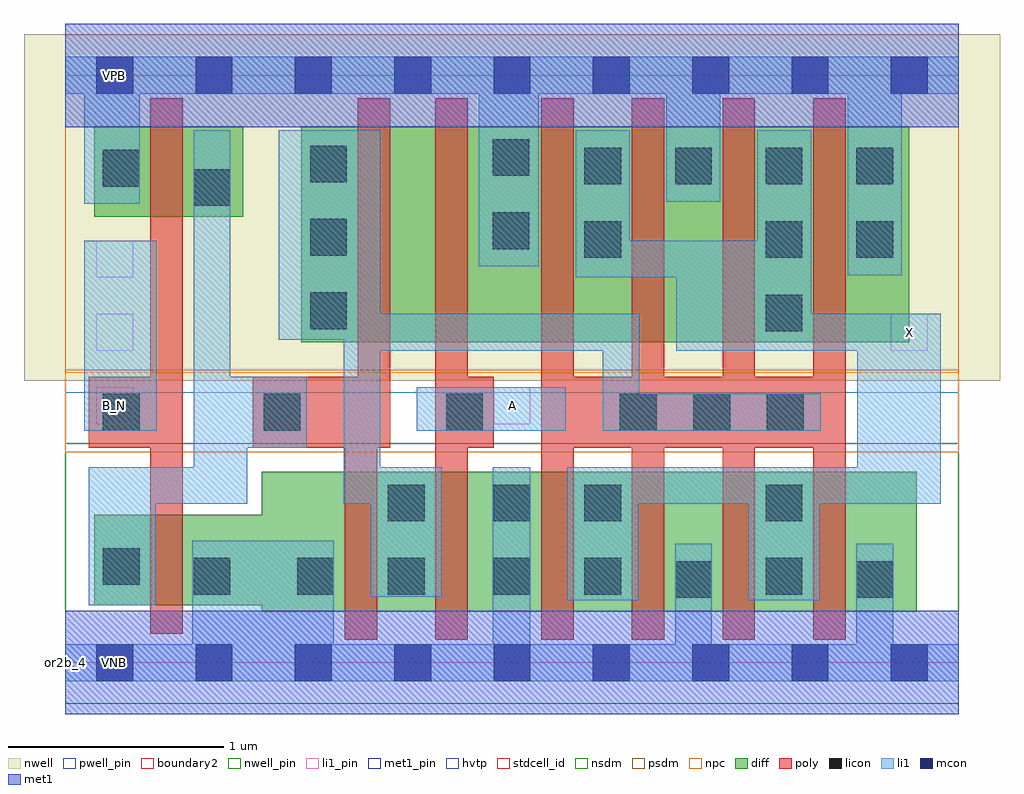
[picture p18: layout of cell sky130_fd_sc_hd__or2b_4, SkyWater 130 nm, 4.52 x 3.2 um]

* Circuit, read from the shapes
.subckt sky130_fd_sc_hd__or2b_4 A B_N VGND VNB VPB VPWR X
XM1 VGND B_N n1 VNB sky130_fd_pr__nfet_01v8 w=0.42 l=0.15
XM2 n2 n1 VGND VNB sky130_fd_pr__nfet_01v8 w=0.65 l=0.15
XM3 VGND A n2 VNB sky130_fd_pr__nfet_01v8 w=0.65 l=0.15
XM4 X n2 VGND VNB sky130_fd_pr__nfet_01v8 w=0.65 l=0.15 m=4
XM5 n1 B_N VPWR VPB sky130_fd_pr__pfet_01v8_hvt w=0.42 l=0.15
XM6 n3 n1 n2 VPB sky130_fd_pr__pfet_01v8_hvt w=1 l=0.15
XM7 VPWR A n3 VPB sky130_fd_pr__pfet_01v8_hvt w=1 l=0.15
XM8 X n2 VPWR VPB sky130_fd_pr__pfet_01v8_hvt w=1 l=0.15 m=4
.ends

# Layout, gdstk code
import gdstk
lib = gdstk.Library(unit=1e-6, precision=1e-09)
def R(c, l, rs):  # rectangles x0, y0, x1, y1
    for r in rs: c.add(gdstk.rectangle(r[:2], r[2:], *l))
def A(c, l, x, y, w, h, nx, ny, dx, dy):  # array of equal rectangles
    R(c, l, [(x+i*dx, y+j*dy, x+i*dx+w, y+j*dy+h) for i in range(nx) for j in range(ny)])
def P(c, l, *ps):  # polygons
    for p in ps: c.add(gdstk.Polygon(p, *l))
nwell_pin = (64, 16)
nwell = (64, 20)
diff = (65, 20)
poly = (66, 20)
licon = (66, 44)
li1_pin = (67, 16)
li1 = (67, 20)
mcon = (67, 44)
met1_pin = (68, 16)
met1 = (68, 20)
hvtp = (78, 44)
stdcell_id = (81, 4)
nsdm = (93, 44)
psdm = (94, 20)
npc = (95, 20)
pwell_pin = (122, 16)
boundary2 = (236, 0)

sky130_fd_sc_hd__or2b_4 = lib.new_cell('sky130_fd_sc_hd__or2b_4')
R(sky130_fd_sc_hd__or2b_4, nwell_pin, [(0.145,2.635,0.315,2.805)])
R(sky130_fd_sc_hd__or2b_4, nwell, [(-0.19,1.305,4.33,2.91)])
R(sky130_fd_sc_hd__or2b_4, diff, [(1.095,1.485,3.91,2.485), (0.135,2.065,0.825,2.485)])
P(sky130_fd_sc_hd__or2b_4, diff, [(3.945,0.885),(0.91,0.885),(0.91,0.685),(0.135,0.685),(0.135,0.265),(0.91,0.265),(0.91,0.235),(3.945,0.235)])
P(sky130_fd_sc_hd__or2b_4, poly, [(3.615,2.615),(3.465,2.615),(3.465,1.325),(3.195,1.325),(3.195,2.615),(3.045,2.615),(3.045,1.325),(2.775,1.325),(2.775,2.615),(2.625,2.615),(2.625,1.325),(2.355,1.325),(2.355,2.615),(2.205,2.615),(2.205,0.105),(2.355,0.105),(2.355,0.995),(2.625,0.995),(2.625,0.105),(2.775,0.105),(2.775,0.995),(3.045,0.995),(3.045,0.105),(3.195,0.105),(3.195,0.995),(3.465,0.995),(3.465,0.105),(3.615,0.105)],
  [(1.985,1.325),(1.865,1.325),(1.865,2.615),(1.715,2.615),(1.715,0.105),(1.865,0.105),(1.865,0.995),(1.985,0.995)],
  [(1.505,2.615),(1.355,2.615),(1.355,1.325),(0.87,1.325),(0.87,0.995),(1.295,0.995),(1.295,0.105),(1.445,0.105),(1.445,0.995),(1.505,0.995)],
  [(0.545,2.615),(0.395,2.615),(0.395,1.325),(0.11,1.325),(0.11,0.995),(0.395,0.995),(0.395,0.135),(0.545,0.135)])
A(sky130_fd_sc_hd__or2b_4, licon, 2.57, 1.075, 0.17, 0.17, 3, 1, 0.34, 0)
A(sky130_fd_sc_hd__or2b_4, licon, 1.135, 1.545, 0.17, 0.17, 1, 3, 0, 0.34)
A(sky130_fd_sc_hd__or2b_4, licon, 2.405, 2.215, 0.17, 0.17, 4, 1, 0.42, 0)
R(sky130_fd_sc_hd__or2b_4, licon, [(2.825,0.3,2.995,0.47), (3.665,0.3,3.835,0.47), (0.595,0.315,0.765,0.485), (1.075,0.315,1.245,0.485), (1.495,0.315,1.665,0.485), (1.985,0.315,2.155,0.485), (2.405,0.315,2.575,0.485), (3.245,0.315,3.415,0.485), (0.175,0.36,0.345,0.53), (1.495,0.655,1.665,0.825), (1.985,0.655,2.155,0.825), (2.405,0.655,2.575,0.825), (3.245,0.655,3.415,0.825), (0.175,1.075,0.345,1.245), (0.92,1.075,1.09,1.245), (1.765,1.075,1.935,1.245), (3.245,1.535,3.415,1.705), (2.405,1.875,2.575,2.045), (3.245,1.875,3.415,2.045), (3.665,1.875,3.835,2.045), (1.98,1.915,2.15,2.085), (0.595,2.115,0.765,2.285), (0.175,2.205,0.345,2.375), (1.98,2.255,2.15,2.425)])
A(sky130_fd_sc_hd__or2b_4, li1_pin, 0.145, 1.105, 0.17, 0.17, 1, 3, 0, 0.34)
R(sky130_fd_sc_hd__or2b_4, li1_pin, [(1.985,1.105,2.155,1.275), (3.825,1.445,3.995,1.615)])
R(sky130_fd_sc_hd__or2b_4, li1, [(0.09,1.075,0.425,1.955), (1.63,1.075,2.32,1.275)])
P(sky130_fd_sc_hd__or2b_4, li1, [(4.14,0.085),(3.835,0.085),(3.835,0.55),(3.665,0.55),(3.665,0.085),(2.995,0.085),(2.995,0.55),(2.825,0.55),(2.825,0.085),(2.155,0.085),(2.155,0.905),(1.98,0.905),(1.98,0.085),(1.245,0.085),(1.245,0.565),(0.59,0.565),(0.59,0.085),(0,0.085),(0,-0.085),(4.14,-0.085)],
  [(4.14,2.805),(0,2.805),(0,2.635),(0.09,2.635),(0.09,2.125),(0.345,2.125),(0.345,2.635),(1.915,2.635),(1.915,1.835),(2.195,1.835),(2.195,2.635),(2.785,2.635),(2.785,2.135),(3.035,2.135),(3.035,2.635),(3.625,2.635),(3.625,1.795),(3.875,1.795),(3.875,2.635),(4.14,2.635)],
  [(1.12,1.325),(0.765,1.325),(0.765,2.465),(0.595,2.465),(0.595,0.905),(0.11,0.905),(0.11,0.265),(0.42,0.265),(0.42,0.735),(0.845,0.735),(0.845,0.995),(1.12,0.995)],
  [(3.5,1.245),(2.66,1.245),(2.66,1.615),(1.46,1.615),(1.46,2.465),(0.99,2.465),(0.99,1.495),(1.29,1.495),(1.29,0.735),(1.415,0.735),(1.415,0.305),(1.745,0.305),(1.745,0.905),(1.46,0.905),(1.46,1.445),(2.49,1.445),(2.49,1.075),(3.5,1.075)],
  [(4.055,1.615),(3.455,1.615),(3.455,2.465),(3.205,2.465),(3.205,1.955),(2.615,1.955),(2.615,2.465),(2.365,2.465),(2.365,1.785),(2.83,1.785),(2.83,1.445),(3.67,1.445),(3.67,0.905),(2.325,0.905),(2.325,0.29),(2.655,0.29),(2.655,0.735),(3.165,0.735),(3.165,0.29),(3.495,0.29),(3.495,0.735),(4.055,0.735)])
A(sky130_fd_sc_hd__or2b_4, mcon, 0.145, -0.085, 0.17, 0.17, 9, 2, 0.46, 2.72)
R(sky130_fd_sc_hd__or2b_4, met1_pin, [(0.145,-0.085,0.315,0.085), (0.145,2.635,0.315,2.805)])
R(sky130_fd_sc_hd__or2b_4, hvtp, [(0,1.25,4.14,2.72)])
R(sky130_fd_sc_hd__or2b_4, stdcell_id, [(0,0,4.14,2.72)])
R(sky130_fd_sc_hd__or2b_4, nsdm, [(0,-0.19,4.14,1.015)])
R(sky130_fd_sc_hd__or2b_4, psdm, [(0,1.355,4.14,2.91)])
R(sky130_fd_sc_hd__or2b_4, npc, [(0,0.975,4.14,1.345)])
R(sky130_fd_sc_hd__or2b_4, pwell_pin, [(0.145,-0.085,0.315,0.085)])
R(sky130_fd_sc_hd__or2b_4, boundary2, [(0,0,4.14,2.72)])
sky130_fd_sc_hd__or2b_4.add(gdstk.FlexPath([(0,2.72),(4.14,2.72)], 0.48, ends="flush", simple_path=True, layer=68, datatype=20))  # met1
sky130_fd_sc_hd__or2b_4.add(gdstk.FlexPath([(0,0),(4.14,0)], 0.48, ends="flush", simple_path=True, layer=68, datatype=20))  # met1
sky130_fd_sc_hd__or2b_4.add(gdstk.Label('A', (2.07,1.19), layer=67, texttype=5))
sky130_fd_sc_hd__or2b_4.add(gdstk.Label('B_N', (0.23,1.19), layer=67, texttype=5))
sky130_fd_sc_hd__or2b_4.add(gdstk.Label('X', (3.91,1.53), layer=67, texttype=5))
sky130_fd_sc_hd__or2b_4.add(gdstk.Label('VNB', (0.23,0), layer=64, texttype=59))
sky130_fd_sc_hd__or2b_4.add(gdstk.Label('VPB', (0.23,2.72), layer=64, texttype=5))
sky130_fd_sc_hd__or2b_4.add(gdstk.Label('VGND', (0.23,0), layer=68, texttype=5))
sky130_fd_sc_hd__or2b_4.add(gdstk.Label('VPWR', (0.23,2.72), layer=68, texttype=5))
sky130_fd_sc_hd__or2b_4.add(gdstk.Label('or2b_4', (0,0), layer=83, texttype=44))

lib.write_gds('sky130_fd_sc_hd__or2b_4.gds')
